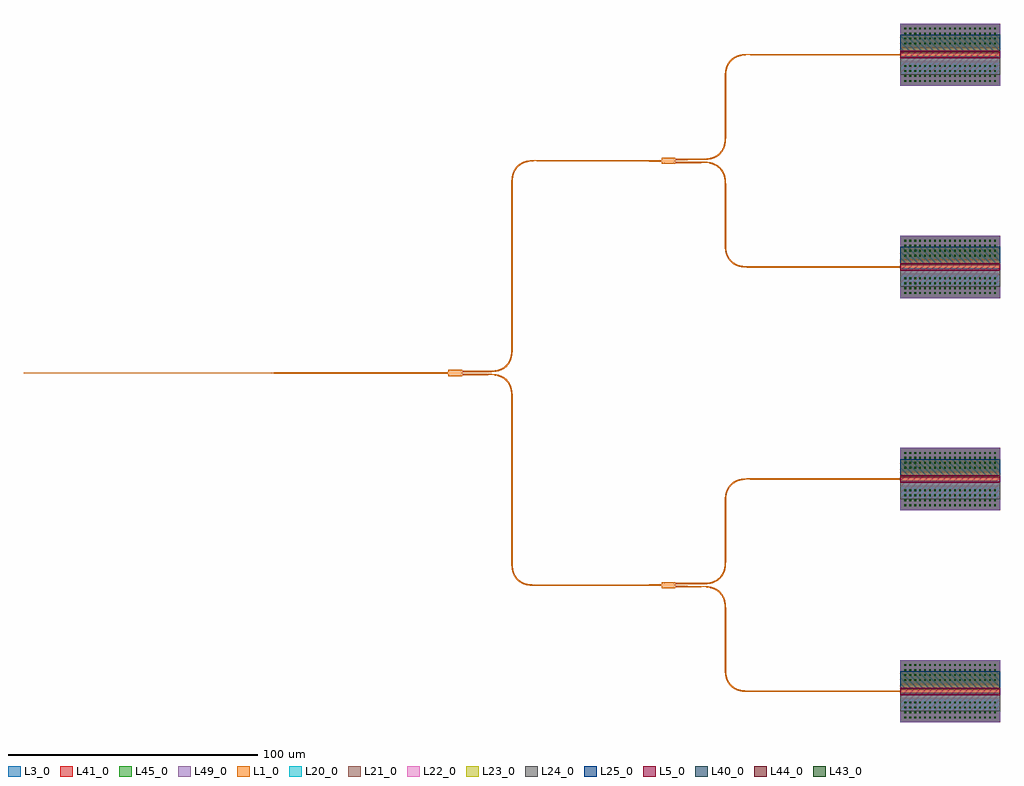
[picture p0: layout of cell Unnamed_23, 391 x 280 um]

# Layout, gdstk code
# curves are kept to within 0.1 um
from math import pi, radians
import gdstk
lib = gdstk.Library(unit=1e-6, precision=1e-09)
def R(c, l, rs):  # rectangles x0, y0, x1, y1
    for r in rs: c.add(gdstk.rectangle(r[:2], r[2:], *l))
def P(c, l, *ps):  # polygons
    for p in ps: c.add(gdstk.Polygon(p, *l))
L1_0 = (1, 0)
L3_0 = (3, 0)
L5_0 = (5, 0)
L20_0 = (20, 0)
L21_0 = (21, 0)
L22_0 = (22, 0)
L23_0 = (23, 0)
L24_0 = (24, 0)
L25_0 = (25, 0)
L40_0 = (40, 0)
L41_0 = (41, 0)
L43_0 = (43, 0)
L44_0 = (44, 0)
L45_0 = (45, 0)
L49_0 = (49, 0)

mmi1x2_gdsfactorypcompon = lib.new_cell('mmi1x2_gdsfactorypcomponentspmmispmmi1x2_WNone_WT1_LT10_1f097353')
P(mmi1x2_gdsfactorypcompon, L1_0, [(0,-1.25),(0,-0.5),(-10,-0.25),(-10,0.25),(0,0.5),(0,1.25),(5.5,1.25),(5.5,1.125),(15.5,0.875),(15.5,0.375),(5.5,0.125),(5.5,-0.125),(15.5,-0.375),(15.5,-0.875),(5.5,-1.125),(5.5,-1.25)])

edge_coupler_silicon_gds = lib.new_cell('edge_coupler_silicon_gdsfactorypcomponentspedge_coupler_5718d84a')
P(edge_coupler_silicon_gds, L1_0, [(0,-0.25),(0,0.25),(100,0.1),(100,-0.1)])

straight_gdsfactorypcomp = lib.new_cell('straight_gdsfactorypcomponentspwaveguidespstraight_L40__e75c9e9b')
R(straight_gdsfactorypcomp, L1_0, [(0,-3,40,3)])
R(straight_gdsfactorypcomp, L5_0, [(0,-1.5,40,1.5)])
R(straight_gdsfactorypcomp, L20_0, [(0,-8,40,-0.6)])
R(straight_gdsfactorypcomp, L21_0, [(0,0.6,40,8)])
R(straight_gdsfactorypcomp, L22_0, [(0,-8,40,-0.9)])
R(straight_gdsfactorypcomp, L23_0, [(0,0.9,40,8)])
R(straight_gdsfactorypcomp, L24_0, [(0,-8,40,-1.1)])
R(straight_gdsfactorypcomp, L25_0, [(0,1.1,40,8)])

taper_gdsfactorypcompone = lib.new_cell('taper_gdsfactorypcomponentsptapersptaper_L20_W0p5_W0p8__54ea6115')
P(taper_gdsfactorypcompone, L1_0, [(20,-0.4),(0,-0.25),(0,0.25),(20,0.4)])

compass_gdsfactorypcompo = lib.new_cell('compass_gdsfactorypcomponentspshapespcompass_S40_10_LSL_1ad8fd33')
R(compass_gdsfactorypcompo, L3_0, [(-20,-5,20,5)])

c_compass_gdsfactorypcompo = lib.new_cell('compass_gdsfactorypcomponentspshapespcompass_S40_10_LM1_dc701dbe')
R(c_compass_gdsfactorypcompo, L41_0, [(-20,-5,20,5)])

c_compass_gdsfactorypcompo_ = lib.new_cell('compass_gdsfactorypcomponentspshapespcompass_S40_10_LM2_fafd2bda')
R(c_compass_gdsfactorypcompo_, L45_0, [(-20,-5,20,5)])

c_compass_gdsfactorypcompo__ = lib.new_cell('compass_gdsfactorypcomponentspshapespcompass_S40_10_LM3_8bd7278e')
R(c_compass_gdsfactorypcompo__, L49_0, [(-20,-5,20,5)])

via_gdsfactorypcomponent = lib.new_cell('via_gdsfactorypcomponentspviaspvia_S0p7_0p7_E1_LVIAC_BL_572539c8')
R(via_gdsfactorypcomponent, L40_0, [(-0.35,-0.35,0.35,0.35)])

c_via_gdsfactorypcomponent = lib.new_cell('via_gdsfactorypcomponentspviaspvia_S0p7_0p7_E1_LVIA1_BL_0068d91e')
R(c_via_gdsfactorypcomponent, L44_0, [(-0.35,-0.35,0.35,0.35)])

c_via_gdsfactorypcomponent_ = lib.new_cell('via_gdsfactorypcomponentspviaspvia_S0p7_0p7_E1_LVIA2_BL_c51b5ebb')
R(c_via_gdsfactorypcomponent_, L43_0, [(-0.35,-0.35,0.35,0.35)])

via_stack_gdsfactorypcom = lib.new_cell('via_stack_gdsfactorypcomponentspviaspvia_stack_S40_10_L_67a2fd6a')
via_stack_gdsfactorypcom.add(gdstk.Reference(compass_gdsfactorypcompo, (0,0)))
via_stack_gdsfactorypcom.add(gdstk.Reference(c_compass_gdsfactorypcompo, (0,0)))
via_stack_gdsfactorypcom.add(gdstk.Reference(c_compass_gdsfactorypcompo_, (0,0)))
via_stack_gdsfactorypcom.add(gdstk.Reference(c_compass_gdsfactorypcompo__, (0,0)))
r = gdstk.Reference(via_gdsfactorypcomponent, (-18,-3)); r.repetition = gdstk.Repetition(19, 4, v1=(2,0), v2=(0,2)); via_stack_gdsfactorypcom.add(r)
r = gdstk.Reference(c_via_gdsfactorypcomponent, (-18,-3)); r.repetition = gdstk.Repetition(19, 4, v1=(2,0), v2=(0,2)); via_stack_gdsfactorypcom.add(r)
r = gdstk.Reference(c_via_gdsfactorypcomponent_, (-18,-3)); r.repetition = gdstk.Repetition(19, 4, v1=(2,0), v2=(0,2)); via_stack_gdsfactorypcom.add(r)

ge_detector_straight_si_ = lib.new_cell('ge_detector_straight_si_contacts_gdsfactorypcomponentsp_ca4976dc')
ge_detector_straight_si_.add(gdstk.Reference(straight_gdsfactorypcomp, (0,0)))
ge_detector_straight_si_.add(gdstk.Reference(taper_gdsfactorypcompone, (-20,0)))
ge_detector_straight_si_.add(gdstk.Reference(via_stack_gdsfactorypcom, (20,7.5)))
ge_detector_straight_si_.add(gdstk.Reference(via_stack_gdsfactorypcom, (20,-7.5)))

bend_euler_gdsfactorypco = lib.new_cell('bend_euler_gdsfactorypcomponentspbendspbend_euler_R10_A_335c8724')
P(bend_euler_gdsfactorypco, L1_0, [(0,-0.25),(0,0.25),(2.881,0.353),(3.952,0.52),(4.99,0.806),(6.431,1.505),(7.575,2.425),(8.495,3.569),(9.194,5.01),(9.48,6.048),(9.647,7.119),(9.75,10),(10.25,10),(10.158,7.205),(9.797,5.254),(9.457,4.312),(9.066,3.545),(8.5,2.715),(7.928,2.072),(7.285,1.5),(6.455,0.934),(5.688,0.543),(4.746,0.203),(2.795,-0.158)])

c_straight_gdsfactorypcomp = lib.new_cell('straight_gdsfactorypcomponentspwaveguidespstraight_L64p_8aa9d99d')
R(c_straight_gdsfactorypcomp, L1_0, [(0,-0.25,64.375,0.25)])

c_straight_gdsfactorypcomp_ = lib.new_cell('straight_gdsfactorypcomponentspwaveguidespstraight_L40__92237c63')
R(c_straight_gdsfactorypcomp_, L1_0, [(0,-0.25,40,0.25)])

c_straight_gdsfactorypcomp__ = lib.new_cell('straight_gdsfactorypcomponentspwaveguidespstraight_L60__19f0af99')
R(c_straight_gdsfactorypcomp__, L1_0, [(0,-0.25,60,0.25)])

c_straight_gdsfactorypcomp___ = lib.new_cell('straight_gdsfactorypcomponentspwaveguidespstraight_L21p_9666d935')
R(c_straight_gdsfactorypcomp___, L1_0, [(0,-0.25,21.875,0.25)])

unnamed_23 = lib.new_cell('Unnamed_23')
unnamed_23.add(gdstk.Reference(mmi1x2_gdsfactorypcompon, (170,0)))
unnamed_23.add(gdstk.Reference(mmi1x2_gdsfactorypcompon, (255.5,85)))
unnamed_23.add(gdstk.Reference(mmi1x2_gdsfactorypcompon, (255.5,-85)))
unnamed_23.add(gdstk.Reference(edge_coupler_silicon_gds, (100,0), rotation=pi))
unnamed_23.add(gdstk.Reference(ge_detector_straight_si_, (351,127.5)))
unnamed_23.add(gdstk.Reference(ge_detector_straight_si_, (351,42.5)))
unnamed_23.add(gdstk.Reference(ge_detector_straight_si_, (351,-42.5)))
unnamed_23.add(gdstk.Reference(ge_detector_straight_si_, (351,-127.5)))
unnamed_23.add(gdstk.Reference(bend_euler_gdsfactorypco, (195.5,10.625), rotation=3*pi/2, x_reflection=True))
unnamed_23.add(gdstk.Reference(bend_euler_gdsfactorypco, (205.5,85), rotation=pi))
unnamed_23.add(gdstk.Reference(c_straight_gdsfactorypcomp, (195.5,10.625), rotation=pi/2))
unnamed_23.add(gdstk.Reference(c_straight_gdsfactorypcomp_, (205.5,85)))
unnamed_23.add(gdstk.Reference(bend_euler_gdsfactorypco, (195.5,-10.625), rotation=pi/2))
unnamed_23.add(gdstk.Reference(bend_euler_gdsfactorypco, (205.5,-85), rotation=pi, x_reflection=True))
unnamed_23.add(gdstk.Reference(c_straight_gdsfactorypcomp, (195.5,-10.625), rotation=3*pi/2))
unnamed_23.add(gdstk.Reference(c_straight_gdsfactorypcomp_, (205.5,-85)))
unnamed_23.add(gdstk.Reference(c_straight_gdsfactorypcomp__, (100,0)))
unnamed_23.add(gdstk.Reference(bend_euler_gdsfactorypco, (281,95.625), rotation=3*pi/2, x_reflection=True))
unnamed_23.add(gdstk.Reference(bend_euler_gdsfactorypco, (291,127.5), rotation=pi))
unnamed_23.add(gdstk.Reference(c_straight_gdsfactorypcomp___, (281,95.625), rotation=pi/2))
unnamed_23.add(gdstk.Reference(c_straight_gdsfactorypcomp_, (291,127.5)))
unnamed_23.add(gdstk.Reference(bend_euler_gdsfactorypco, (281,74.375), rotation=pi/2))
unnamed_23.add(gdstk.Reference(bend_euler_gdsfactorypco, (291,42.5), rotation=pi, x_reflection=True))
unnamed_23.add(gdstk.Reference(c_straight_gdsfactorypcomp___, (281,74.375), rotation=3*pi/2))
unnamed_23.add(gdstk.Reference(c_straight_gdsfactorypcomp_, (291,42.5)))
unnamed_23.add(gdstk.Reference(bend_euler_gdsfactorypco, (281,-74.375), rotation=3*pi/2, x_reflection=True))
unnamed_23.add(gdstk.Reference(bend_euler_gdsfactorypco, (291,-42.5), rotation=pi))
unnamed_23.add(gdstk.Reference(c_straight_gdsfactorypcomp___, (281,-74.375), rotation=pi/2))
unnamed_23.add(gdstk.Reference(c_straight_gdsfactorypcomp_, (291,-42.5)))
unnamed_23.add(gdstk.Reference(bend_euler_gdsfactorypco, (281,-95.625), rotation=pi/2))
unnamed_23.add(gdstk.Reference(bend_euler_gdsfactorypco, (291,-127.5), rotation=pi, x_reflection=True))
unnamed_23.add(gdstk.Reference(c_straight_gdsfactorypcomp___, (281,-95.625), rotation=3*pi/2))
unnamed_23.add(gdstk.Reference(c_straight_gdsfactorypcomp_, (291,-127.5)))

lib.write_gds('Unnamed_23.gds')
